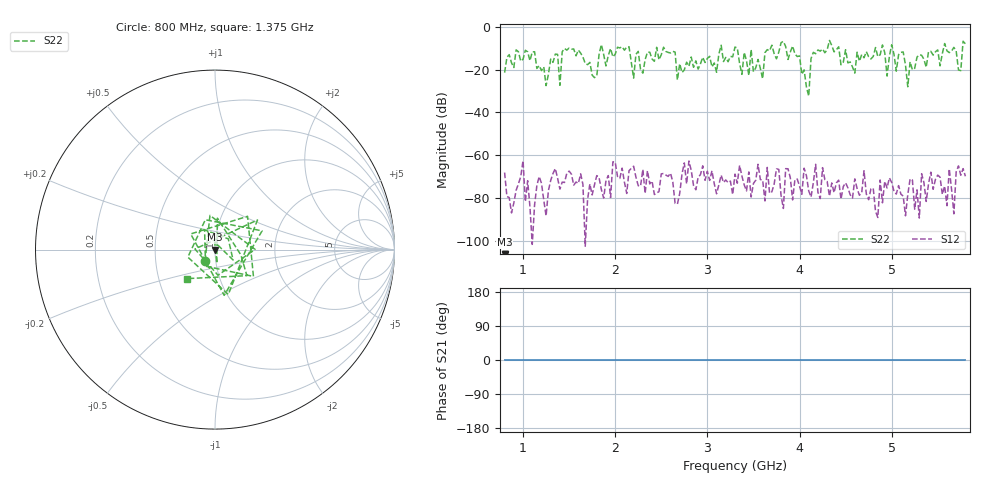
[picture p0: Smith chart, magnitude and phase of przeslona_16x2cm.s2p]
! TTR506A,Tektronix,B011007,Application version 1.0.3.91c46def Firmware version 066185400
! Freq ReS11 ImS11 ReS21 ImS21 ReS12 ImS12 ReS22 ImS22
# Hz S RI R 50
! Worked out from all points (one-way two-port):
!   201 points, 800 MHz to 5.8 GHz, reference 50 ohm
!   highest |S21| = - dB at 800 MHz (marker M1); lowest = - dB at 800 MHz (marker M2)
!   lowest |S11| = - dB at 800 MHz (marker M3), VSWR 1.00, Z = 50 + j0 ohm
!   |S11| at or under -10 dB: start of sweep to end of sweep
!   |S22| runs from -32.4 to -6.4 dB; largest |S21 - S12| = 0.00075
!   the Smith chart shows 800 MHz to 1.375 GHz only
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8e8  0 0  0 0  -9.02e-05 -0.000386  -0.0553 -0.0646
8.75e8  0 0  0 0  1.88e-05 4.13e-05  0.0167 -0.1429
1e9  0 0  0 0  0.000728 -0.000195  -0.054 0.1662
1.025e9  0 0  0 0  6.34e-05 -5.36e-05  0.2625 0.1045
1.25e9  0 0  0 0  1.69e-05 3.47e-05  -0.00166 0.0423
1.65e9  0 0  0 0  5.35e-05 -0.000201  -0.1194 -0.1556
1.95e9  0 0  0 0  3.7e-05 9.63e-05  -0.0646 -0.3041
1.975e9  0 0  0 0  0.000686 0.000168  -0.1826 0.0758
2.475e9  0 0  0 0  -0.000107 9.37e-05  -0.1075 0.1306
3.3e9  0 0  0 0  0.000345 -0.000119  -0.3201 0.1027
3.6e9  0 0  0 0  0.000244 -0.000105  -0.0485 0.0371
3.8e9  0 0  0 0  -6.79e-05 -9.32e-05  -0.2712 0.3288
3.825e9  0 0  0 0  -5.29e-05 -2.3e-05  0.3758 0.2584
3.875e9  0 0  0 0  -0.000282 0.000395  -0.1633 -0.0558
3.925e9  0 0  0 0  -3.34e-05 8.48e-05  0.3541 -0.0365
4.05e9  0 0  0 0  0.000203 0.000457  0.079 0.0587
4.1e9  0 0  0 0  -0.000111 -9.84e-05  -0.0233 0.00571
4.15e9  0 0  0 0  0.000191 -0.000125  0.2524 -0.0162
4.975e9  0 0  0 0  0.00018 -0.000237  0.1427 0.1433
5.125e9  0 0  0 0  2.04e-05 -0.00011  -0.1885 -0.1765
5.175e9  0 0  0 0  -0.000118 2.76e-05  0.0165 -0.0362
5.8e9  0 0  0 0  0.000293 -0.000141  -0.3941 -0.059
